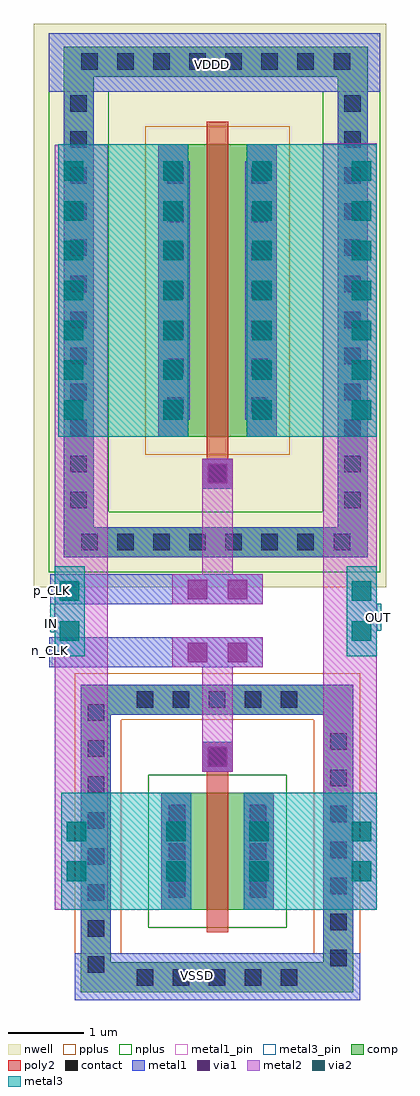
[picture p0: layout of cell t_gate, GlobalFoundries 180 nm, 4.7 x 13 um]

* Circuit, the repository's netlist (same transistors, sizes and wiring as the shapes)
* Extracted by KLayout with GF180MCU LVS runset on : 09/01/2024 12:03

.SUBCKT t_gate IN OUT n_CLK p_CLK VDDD VSSD
M$1 OUT p_CLK IN VDDD pfet_03v3 L=0.28U W=3.9U AS=2.535P AD=2.535P PS=9.1U
+ PD=9.1U
M$2 OUT n_CLK IN VSSD nfet_03v3 L=0.28U W=1.56U AS=0.9516P AD=0.9516P PS=4.34U
+ PD=4.34U
.ENDS t_gate

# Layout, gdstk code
import gdstk
lib = gdstk.Library(unit=1e-6, precision=1e-09)
def R(c, l, rs):  # rectangles x0, y0, x1, y1
    for r in rs: c.add(gdstk.rectangle(r[:2], r[2:], *l))
def A(c, l, x, y, w, h, nx, ny, dx, dy):  # array of equal rectangles
    R(c, l, [(x+i*dx, y+j*dy, x+i*dx+w, y+j*dy+h) for i in range(nx) for j in range(ny)])
nwell = (21, 0)
comp = (22, 0)
poly2 = (30, 0)
pplus = (31, 0)
nplus = (32, 0)
contact = (33, 0)
metal1 = (34, 0)
metal1_pin = (34, 10)
via1 = (35, 0)
metal2 = (36, 0)
via2 = (38, 0)
metal3 = (42, 0)
metal3_pin = (42, 10)

via_dev_8 = lib.new_cell('via_dev$8')
R(via_dev_8, metal1, [(0,0,0.4,1.56)])
R(via_dev_8, via1, [(0.07,0.385,0.33,0.645), (0.07,0.915,0.33,1.175)])
R(via_dev_8, metal2, [(0,0,0.4,1.56)])
R(via_dev_8, via2, [(0.07,0.385,0.33,0.645), (0.07,0.915,0.33,1.175)])
R(via_dev_8, metal3, [(0,0,0.4,1.56)])

via_dev = lib.new_cell('via_dev')
R(via_dev, poly2, [(0,0,0.4,0.4)])
R(via_dev, contact, [(0.09,0.09,0.31,0.31)])
R(via_dev, metal1, [(0,0,0.4,0.4)])
R(via_dev, via1, [(0.07,0.07,0.33,0.33)])
R(via_dev, metal2, [(0,0,0.4,0.4)])

via_dev_9 = lib.new_cell('via_dev$9')
R(via_dev_9, metal2, [(0,0,0.4,1.56)])
R(via_dev_9, via2, [(0.07,0.385,0.33,0.645), (0.07,0.915,0.33,1.175)])
R(via_dev_9, metal3, [(0,0,0.4,1.56)])

nfet_1 = lib.new_cell('nfet$1')
R(nfet_1, comp, [(-0.42,0,0,1.56), (0,0,0.66,1.56), (0.66,0,1.08,1.56)])
R(nfet_1, poly2, [(0.19,-0.3,0.47,1.86), (0.15,1.86,0.51,2.22)])
R(nfet_1, nplus, [(-0.59,-0.24,1.25,1.8)])
A(nfet_1, contact, -0.32, 0.16, 0.22, 0.22, 1, 3, 0, 0.51)
A(nfet_1, contact, 0.76, 0.16, 0.22, 0.22, 1, 3, 0, 0.51)
R(nfet_1, contact, [(0.22,1.93,0.44,2.15)])
R(nfet_1, metal1, [(-0.4,0.08,-0.02,1.48), (0.68,0.08,1.06,1.48), (0.14,1.849,0.52,2.231)])

via_dev_2 = lib.new_cell('via_dev$2')
R(via_dev_2, comp, [(0,0,0.4,6)])
A(via_dev_2, contact, 0.09, 0.25, 0.22, 0.22, 1, 12, 0, 0.48)
R(via_dev_2, metal1, [(0,0,0.4,6)])

via_dev_3 = lib.new_cell('via_dev$3')
R(via_dev_3, comp, [(0,0,4.05,0.4)])
A(via_dev_3, contact, 0.235, 0.09, 0.22, 0.22, 8, 1, 0.48, 0)
R(via_dev_3, metal1, [(0,0,4.05,0.4)])

via_dev_10 = lib.new_cell('via_dev$10')
R(via_dev_10, metal1, [(0,0,0.4,3.9)])
A(via_dev_10, via1, 0.07, 0.23, 0.26, 0.26, 1, 7, 0, 0.53)
R(via_dev_10, metal2, [(0,0,0.4,3.9)])
A(via_dev_10, via2, 0.07, 0.23, 0.26, 0.26, 1, 7, 0, 0.53)
R(via_dev_10, metal3, [(0,0,0.4,3.9)])

via_dev_12 = lib.new_cell('via_dev$12')
R(via_dev_12, comp, [(0,0,2.83,0.4)])
A(via_dev_12, contact, 0.345, 0.09, 0.22, 0.22, 5, 1, 0.48, 0)
R(via_dev_12, metal1, [(0,0,2.83,0.4)])

via_dev_6 = lib.new_cell('via_dev$6')
R(via_dev_6, comp, [(0,0,0.4,4.1)])
A(via_dev_6, contact, 0.09, 0.26, 0.22, 0.22, 1, 8, 0, 0.48)
R(via_dev_6, metal1, [(0,0,0.4,4.1)])

via_dev_11 = lib.new_cell('via_dev$11')
R(via_dev_11, metal2, [(0,0,0.4,3.9)])
A(via_dev_11, via2, 0.07, 0.23, 0.26, 0.26, 1, 7, 0, 0.53)
R(via_dev_11, metal3, [(0,0,0.4,3.9)])

via_dev_14 = lib.new_cell('via_dev$14')
R(via_dev_14, comp, [(0,0,0.4,3.8)])
A(via_dev_14, contact, 0.09, 0.35, 0.22, 0.22, 1, 7, 0, 0.48)
R(via_dev_14, metal1, [(0,0,0.4,3.8)])

via_dev_13 = lib.new_cell('via_dev$13')
R(via_dev_13, metal1, [(0,0,1.2,0.4)])
R(via_dev_13, via1, [(0.205,0.07,0.465,0.33), (0.735,0.07,0.995,0.33)])
R(via_dev_13, metal2, [(0,0,1.2,0.4)])

via_dev_15 = lib.new_cell('via_dev$15')
R(via_dev_15, metal2, [(0,0,0.4,1.2)])
R(via_dev_15, via2, [(0.07,0.205,0.33,0.465), (0.07,0.735,0.33,0.995)])
R(via_dev_15, metal3, [(0,0,0.4,1.2)])

pfet = lib.new_cell('pfet')
R(pfet, nwell, [(-0.9,-0.44,1.56,4.34)])
R(pfet, comp, [(-0.46,0,0,3.9), (0,0,0.66,3.9), (0.66,0,1.12,3.9)])
R(pfet, poly2, [(0.19,-0.3,0.47,4.2), (0.14,4.2,0.52,4.58)])
R(pfet, pplus, [(-0.63,-0.24,1.29,4.14)])
A(pfet, contact, -0.34, 0.31, 0.22, 0.22, 1, 7, 0, 0.51)
A(pfet, contact, 0.78, 0.31, 0.22, 0.22, 1, 7, 0, 0.51)
R(pfet, contact, [(0.22,4.28,0.44,4.5)])
R(pfet, metal1, [(-0.42,0.23,-0.04,3.67), (0.7,0.23,1.08,3.67), (0.14,4.199,0.52,4.581)])

t_gate = lib.new_cell('t_gate')
R(t_gate, nwell, [(-2,-1.2,2.7,6.3)])
R(t_gate, comp, [(1.86,-2.8,2.26,-2.5)])
R(t_gate, pplus, [(-1.45,-6.7,-0.83,-2.35), (-1.45,-6.7,1.73,-6.08), (1.73,-6.7,2.35,-2.35), (-1.45,-2.97,1.83,-2.35)])
R(t_gate, nplus, [(-1.8,-1,2.62,-0.2), (-1.8,-0.85,-1,6.05), (1.85,-0.85,2.62,6.1), (-1.8,5.4,2.62,6.18)])
R(t_gate, metal1, [(-1.45,-6.7,2.35,-6.08), (1.86,-2.8,2.26,-2.5), (-1.79,-2.27,-0.09,-1.87), (-1.78,-1.43,-0.11,-1.03), (-1.8,5.4,2.62,6.18)])
R(t_gate, metal1_pin, [(-1.45,-6.7,2.35,-6.08), (-1.79,-2.27,-1.75,-1.87), (-1.78,-1.43,-1.71,-1.03), (-1.8,5.4,2.62,6.18)])
R(t_gate, metal2, [(-1.72,-5.5,-1.01,4.69), (1.86,-5.5,2.57,4.71), (0.25,-3.6,0.65,-2), (0.25,-1.32,0.65,0.51)])
R(t_gate, metal3, [(-1.63,-5.5,-0.3,-3.94), (-1.63,-5.5,-0.3,-3.94), (0.8,-5.5,2.4,-3.94), (-1.78,-1.8,-1.32,-1.42), (2.17,-1.78,2.63,-1.42), (-1.67,0.8,-0.34,4.7), (1.24,0.8,2.57,4.7)])
R(t_gate, metal3_pin, [(-1.78,-1.8,-1.72,-1.42), (2.57,-1.78,2.63,-1.42)])
t_gate.add(gdstk.Reference(via_dev_8, (-0.3,-5.5)))
t_gate.add(gdstk.Reference(via_dev, (0.25,0.11)))
t_gate.add(gdstk.Reference(via_dev_8, (0.8,-5.5)))
t_gate.add(gdstk.Reference(via_dev_9, (-1.63,-5.5)))
t_gate.add(gdstk.Reference(nfet_1, (0.12,-5.5)))
t_gate.add(gdstk.Reference(via_dev_2, (-1.6,-0.4)))
t_gate.add(gdstk.Reference(via_dev_9, (2.17,-5.5)))
t_gate.add(gdstk.Reference(via_dev_2, (2.05,-0.4)))
t_gate.add(gdstk.Reference(via_dev_3, (-1.6,5.6)))
t_gate.add(gdstk.Reference(via_dev_3, (-1.6,-0.8)))
t_gate.add(gdstk.Reference(via_dev_10, (-0.34,0.8)))
t_gate.add(gdstk.Reference(via_dev_12, (-0.97,-2.9)))
t_gate.add(gdstk.Reference(via_dev_10, (0.84,0.8)))
t_gate.add(gdstk.Reference(via_dev, (0.25,-3.66)))
t_gate.add(gdstk.Reference(via_dev_6, (-1.37,-6.6)))
t_gate.add(gdstk.Reference(via_dev_11, (-1.67,0.8)))
t_gate.add(gdstk.Reference(via_dev_14, (1.86,-6.6)))
t_gate.add(gdstk.Reference(via_dev_12, (-0.97,-6.6)))
t_gate.add(gdstk.Reference(via_dev_11, (2.17,0.8)))
t_gate.add(gdstk.Reference(via_dev_13, (-0.15,-2.27)))
t_gate.add(gdstk.Reference(via_dev_13, (-0.15,-1.43)))
t_gate.add(gdstk.Reference(via_dev_15, (-1.72,-2.12)))
t_gate.add(gdstk.Reference(via_dev_15, (2.17,-2.12)))
t_gate.add(gdstk.Reference(pfet, (0.12,4.7), x_reflection=True))
t_gate.add(gdstk.Label('VDDD', (0.38,5.76), layer=34, texttype=10))
t_gate.add(gdstk.Label('p_CLK', (-1.75,-1.25), layer=34, texttype=10))
t_gate.add(gdstk.Label('n_CLK', (-1.77,-2.05), layer=34, texttype=10))
t_gate.add(gdstk.Label('VSSD', (0.18,-6.37), layer=34, texttype=10))
t_gate.add(gdstk.Label('IN', (-1.76,-1.68), layer=42, texttype=10))
t_gate.add(gdstk.Label('OUT', (2.59,-1.6), layer=42, texttype=10))

lib.write_gds('t_gate.gds')
